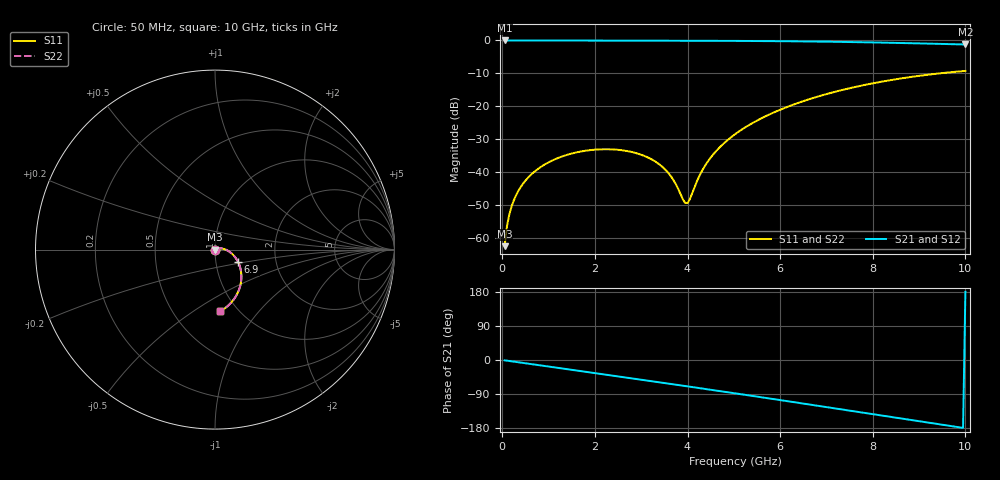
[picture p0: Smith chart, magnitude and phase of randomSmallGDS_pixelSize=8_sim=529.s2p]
! freq	dB(S11)	phase(S11)	dB(S12)	phase(S12)
!  dB(S21)	phase(S21)	dB(S22)	phase(S22)
!S-par simulation data
#  GHz  S  DB  R 50
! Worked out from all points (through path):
!   200 points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, 50 MHz to 10 GHz, reference 50 ohm
!   highest |S21| = 0.00 dB at 50 MHz (marker M1); lowest = -1.2 dB at 10 GHz (marker M2)
!   group delay of S21, straight-line fit = 50.1 ps
!   lowest |S11| = -62.4 dB at 50 MHz (marker M3), VSWR 1.00, Z = 50 - j0.0757 ohm
!   |S11| at or under -10 dB: start of sweep to 9.434 GHz
!   |S22| runs from -62.4 to -9.2 dB; largest |S21 - S12| = 0
!   S11 on the Smith chart (normalised r, x): 50 MHz: 1.00, -0.00; 6.9 GHz: 1.28, -0.18; 10 GHz: 0.83, -0.65
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0.05  -62.42 -88.8  -0.00 -0.9  -0.00 -0.9  -62.42 -88.9
0.1  -56.40 -90.9  -0.00 -1.7  -0.00 -1.7  -56.40 -90.9
0.2  -50.39 -93.5  -0.00 -3.5  -0.00 -3.5  -50.39 -93.5
0.35  -45.56 -96.6  -0.01 -6.1  -0.01 -6.1  -45.56 -96.6
0.5  -42.53 -99.5  -0.01 -8.7  -0.01 -8.7  -42.53 -99.5
1  -36.97 -108.9  -0.02 -17.3  -0.02 -17.3  -36.97 -108.9
1.75  -33.57 -123.0  -0.03 -30.3  -0.03 -30.3  -33.57 -123.1
2.7  -33.57 -141.9  -0.05 -46.7  -0.05 -46.7  -33.57 -142.0
3.1  -35.22 -151.3  -0.06 -53.7  -0.06 -53.7  -35.22 -151.4
3.4  -37.69 -160.5  -0.07 -59.0  -0.07 -59.0  -37.68 -160.7
3.65  -41.40 -173.3  -0.08 -63.4  -0.08 -63.4  -41.38 -173.6
3.9  -48.20 146.1  -0.08 -67.8  -0.08 -67.8  -48.10 145.7
4  -49.33 102.9  -0.09 -69.6  -0.09 -69.6  -49.19 103.0
4.25  -41.28 41.6  -0.10 -74.0  -0.10 -74.0  -41.25 42.0
4.45  -36.49 28.0  -0.10 -77.6  -0.10 -77.6  -36.47 28.2
4.7  -32.35 18.5  -0.12 -82.1  -0.12 -82.1  -32.34 18.7
5.05  -28.21 9.2  -0.14 -88.4  -0.14 -88.4  -28.20 9.3
5.75  -22.57 -6.0  -0.19 -101.1  -0.19 -101.1  -22.56 -5.9
6.7  -17.51 -24.7  -0.32 -118.7  -0.32 -118.7  -17.51 -24.6
6.9  -16.67 -28.5  -0.35 -122.4  -0.35 -122.4  -16.67 -28.4
8.35  -12.11 -55.7  -0.69 -149.6  -0.69 -149.6  -12.11 -55.6
10  -9.24 -85.4  -1.23 179.9  -1.23 179.9  -9.24 -85.4
